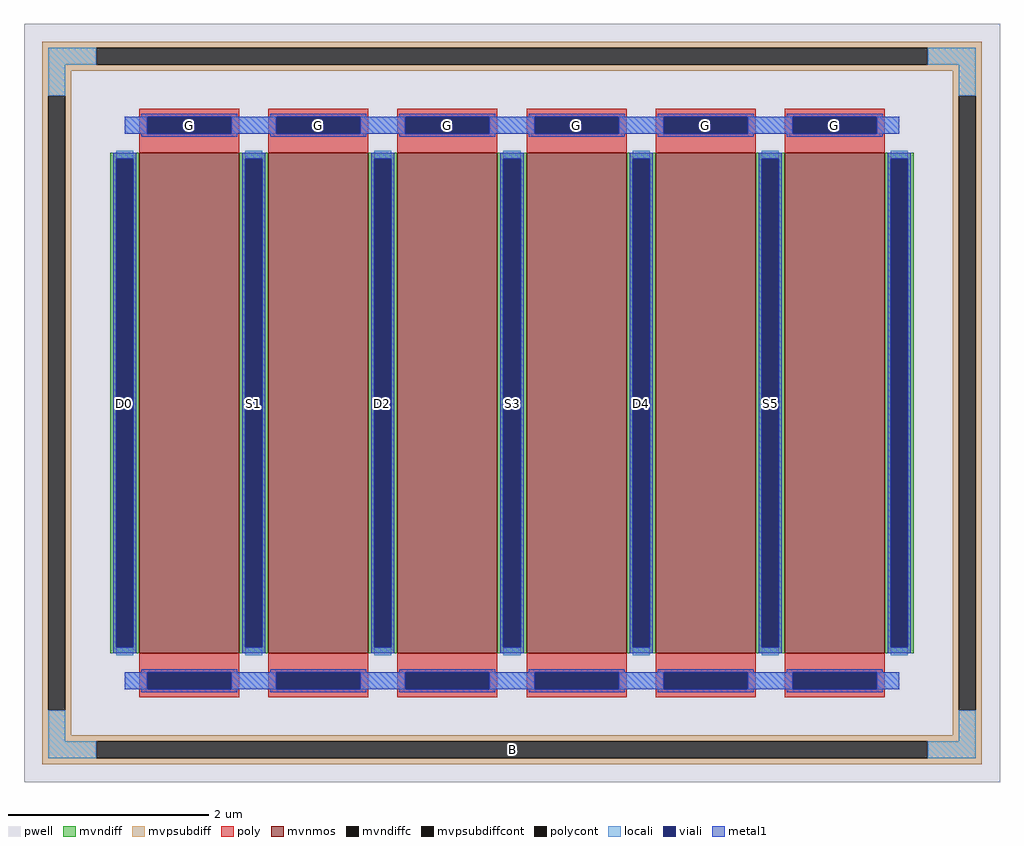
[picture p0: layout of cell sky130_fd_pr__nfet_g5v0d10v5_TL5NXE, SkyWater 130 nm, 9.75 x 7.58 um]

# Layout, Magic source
magic
tech sky130A
magscale 1 2
<< pwell >>
rect -975 -758 975 758
<< mvnmos >>
rect -745 -500 -545 500
rect -487 -500 -287 500
rect -229 -500 -29 500
rect 29 -500 229 500
rect 287 -500 487 500
rect 545 -500 745 500
<< mvndiff >>
rect -803 488 -745 500
rect -803 -488 -791 488
rect -757 -488 -745 488
rect -803 -500 -745 -488
rect -545 488 -487 500
rect -545 -488 -533 488
rect -499 -488 -487 488
rect -545 -500 -487 -488
rect -287 488 -229 500
rect -287 -488 -275 488
rect -241 -488 -229 488
rect -287 -500 -229 -488
rect -29 488 29 500
rect -29 -488 -17 488
rect 17 -488 29 488
rect -29 -500 29 -488
rect 229 488 287 500
rect 229 -488 241 488
rect 275 -488 287 488
rect 229 -500 287 -488
rect 487 488 545 500
rect 487 -488 499 488
rect 533 -488 545 488
rect 487 -500 545 -488
rect 745 488 803 500
rect 745 -488 757 488
rect 791 -488 803 488
rect 745 -500 803 -488
<< mvndiffc >>
rect -791 -488 -757 488
rect -533 -488 -499 488
rect -275 -488 -241 488
rect -17 -488 17 488
rect 241 -488 275 488
rect 499 -488 533 488
rect 757 -488 791 488
<< mvpsubdiff >>
rect -939 710 939 722
rect -939 676 -831 710
rect 831 676 939 710
rect -939 664 939 676
rect -939 614 -881 664
rect -939 -614 -927 614
rect -893 -614 -881 614
rect 881 614 939 664
rect -939 -664 -881 -614
rect 881 -614 893 614
rect 927 -614 939 614
rect 881 -664 939 -614
rect -939 -676 939 -664
rect -939 -710 -831 -676
rect 831 -710 939 -676
rect -939 -722 939 -710
<< mvpsubdiffcont >>
rect -831 676 831 710
rect -927 -614 -893 614
rect 893 -614 927 614
rect -831 -710 831 -676
<< poly >>
rect -745 572 -545 588
rect -745 538 -729 572
rect -561 538 -545 572
rect -745 500 -545 538
rect -487 572 -287 588
rect -487 538 -471 572
rect -303 538 -287 572
rect -487 500 -287 538
rect -229 572 -29 588
rect -229 538 -213 572
rect -45 538 -29 572
rect -229 500 -29 538
rect 29 572 229 588
rect 29 538 45 572
rect 213 538 229 572
rect 29 500 229 538
rect 287 572 487 588
rect 287 538 303 572
rect 471 538 487 572
rect 287 500 487 538
rect 545 572 745 588
rect 545 538 561 572
rect 729 538 745 572
rect 545 500 745 538
rect -745 -538 -545 -500
rect -745 -572 -729 -538
rect -561 -572 -545 -538
rect -745 -588 -545 -572
rect -487 -538 -287 -500
rect -487 -572 -471 -538
rect -303 -572 -287 -538
rect -487 -588 -287 -572
rect -229 -538 -29 -500
rect -229 -572 -213 -538
rect -45 -572 -29 -538
rect -229 -588 -29 -572
rect 29 -538 229 -500
rect 29 -572 45 -538
rect 213 -572 229 -538
rect 29 -588 229 -572
rect 287 -538 487 -500
rect 287 -572 303 -538
rect 471 -572 487 -538
rect 287 -588 487 -572
rect 545 -538 745 -500
rect 545 -572 561 -538
rect 729 -572 745 -538
rect 545 -588 745 -572
<< polycont >>
rect -729 538 -561 572
rect -471 538 -303 572
rect -213 538 -45 572
rect 45 538 213 572
rect 303 538 471 572
rect 561 538 729 572
rect -729 -572 -561 -538
rect -471 -572 -303 -538
rect -213 -572 -45 -538
rect 45 -572 213 -538
rect 303 -572 471 -538
rect 561 -572 729 -538
<< locali >>
rect -927 676 -831 710
rect 831 676 927 710
rect -927 614 -893 676
rect 893 614 927 676
rect -774 538 -729 572
rect -561 538 -471 572
rect -303 538 -213 572
rect -45 538 45 572
rect 213 538 303 572
rect 471 538 561 572
rect 729 538 774 572
rect -791 488 -757 504
rect -791 -504 -757 -488
rect -533 488 -499 504
rect -533 -504 -499 -488
rect -275 488 -241 504
rect -275 -504 -241 -488
rect -17 488 17 504
rect -17 -504 17 -488
rect 241 488 275 504
rect 241 -504 275 -488
rect 499 488 533 504
rect 499 -504 533 -488
rect 757 488 791 504
rect 757 -504 791 -488
rect -774 -572 -729 -538
rect -561 -572 -471 -538
rect -303 -572 -213 -538
rect -45 -572 45 -538
rect 213 -572 303 -538
rect 471 -572 561 -538
rect 729 -572 774 -538
rect -927 -676 -893 -614
rect 893 -676 927 -614
rect -927 -710 -831 -676
rect 831 -710 927 -676
<< viali >>
rect -729 538 -561 572
rect -471 538 -303 572
rect -213 538 -45 572
rect 45 538 213 572
rect 303 538 471 572
rect 561 538 729 572
rect -791 -488 -757 488
rect -533 -488 -499 488
rect -275 -488 -241 488
rect -17 -488 17 488
rect 241 -488 275 488
rect 499 -488 533 488
rect 757 -488 791 488
rect -729 -572 -561 -538
rect -471 -572 -303 -538
rect -213 -572 -45 -538
rect 45 -572 213 -538
rect 303 -572 471 -538
rect 561 -572 729 -538
<< metal1 >>
rect -741 572 -549 578
rect -483 572 -291 578
rect -225 572 -33 578
rect 33 572 225 578
rect 291 572 483 578
rect 549 572 741 578
rect -774 538 -729 572
rect -561 538 -471 572
rect -303 538 -213 572
rect -45 538 45 572
rect 213 538 303 572
rect 471 538 561 572
rect 729 538 774 572
rect -741 532 -549 538
rect -483 532 -291 538
rect -225 532 -33 538
rect 33 532 225 538
rect 291 532 483 538
rect 549 532 741 538
rect -797 488 -751 500
rect -797 -488 -791 488
rect -757 -488 -751 488
rect -797 -500 -751 -488
rect -539 488 -493 500
rect -539 -488 -533 488
rect -499 -488 -493 488
rect -539 -500 -493 -488
rect -281 488 -235 500
rect -281 -488 -275 488
rect -241 -488 -235 488
rect -281 -500 -235 -488
rect -23 488 23 500
rect -23 -488 -17 488
rect 17 -488 23 488
rect -23 -500 23 -488
rect 235 488 281 500
rect 235 -488 241 488
rect 275 -488 281 488
rect 235 -500 281 -488
rect 493 488 539 500
rect 493 -488 499 488
rect 533 -488 539 488
rect 493 -500 539 -488
rect 751 488 797 500
rect 751 -488 757 488
rect 791 -488 797 488
rect 751 -500 797 -488
rect -741 -538 -549 -532
rect -483 -538 -291 -532
rect -225 -538 -33 -532
rect 33 -538 225 -532
rect 291 -538 483 -532
rect 549 -538 741 -532
rect -774 -572 -729 -538
rect -561 -572 -471 -538
rect -303 -572 -213 -538
rect -45 -572 45 -538
rect 213 -572 303 -538
rect 471 -572 561 -538
rect 729 -572 774 -538
rect -741 -578 -549 -572
rect -483 -578 -291 -572
rect -225 -578 -33 -572
rect 33 -578 225 -572
rect 291 -578 483 -572
rect 549 -578 741 -572
<< labels >>
rlabel mvpsubdiffcont 0 -693 0 -693 0 B
port 9 nsew
rlabel mvndiffc -774 0 -774 0 0 D0
port 10 nsew
rlabel polycont -645 555 -645 555 0 G
port 3 nsew
rlabel mvndiffc -516 0 -516 0 0 S1
port 11 nsew
rlabel polycont -387 555 -387 555 0 G
port 3 nsew
rlabel mvndiffc -258 0 -258 0 0 D2
port 12 nsew
rlabel polycont -129 555 -129 555 0 G
port 3 nsew
rlabel mvndiffc 0 0 0 0 0 S3
port 13 nsew
rlabel polycont 129 555 129 555 0 G
port 3 nsew
rlabel mvndiffc 258 0 258 0 0 D4
port 14 nsew
rlabel polycont 387 555 387 555 0 G
port 3 nsew
rlabel mvndiffc 516 0 516 0 0 S5
port 15 nsew
rlabel polycont 645 555 645 555 0 G
port 3 nsew
<< properties >>
string FIXED_BBOX -910 -693 910 693
string gencell sky130_fd_pr__nfet_g5v0d10v5
string library sky130
string parameters w 5 l 1 m 1 nf 6 diffcov 100 polycov 100 guard 1 glc 1 grc 1 gtc 1 gbc 1 tbcov 100 rlcov 100 topc 1 botc 1 poverlap 0 doverlap 1 lmin 0.50 wmin 0.42 class mosfet compatible {sky130_fd_pr__nfet_01v8 sky130_fd_pr__nfet_01v8_lvt  sky130_fd_bs_flash__special_sonosfet_star  sky130_fd_pr__nfet_g5v0d10v5 sky130_fd_pr__nfet_05v0_nvt  sky130_fd_pr__nfet_03v3_nvt} full_metal 1 conn_gates 1 viasrc 100 viadrn 100 viagate 100 viagb 0 viagr 0 viagl 0 viagt 0 doports 1
<< end >>
